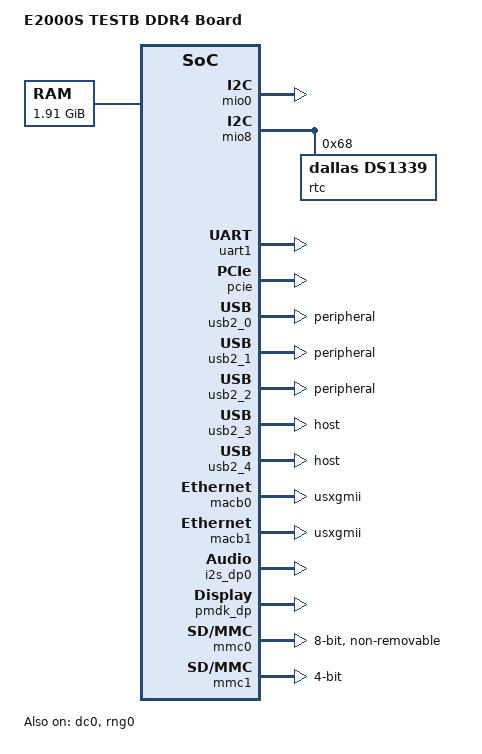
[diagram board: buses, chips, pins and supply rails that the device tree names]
// SPDX-License-Identifier: GPL-2.0
/*
 * DTS file for Phytium E2000S test board
 *
 * Copyright (C) 2022, Phytium Technology Co., Ltd.
 *
 * This program is free software; you can redistribute it and/or
 * modify it under the terms of the GNU General Public License as
 * published by the Free Software Foundation; either version 2 of
 * the License, or (at your option) any later version.
 */

/dts-v1/;
/memreserve/ 0x80000000 0x10000;

#include "e2000s.dtsi"

/{
	model = "E2000S TESTB DDR4 Board";
	compatible = "phytium,e2000s";

	chosen {
		stdout-path = "serial1:115200n8";
	};

	memory@00{
		device_type = "memory";
		reg = <0x0 0x80000000 0x0 0x7a000000>;
	};
};

&soc {
	mio0: i2c@28014000 {
		compatible = "phytium,i2c";
		reg = <0x0 0x28014000 0x0 0x1000>;
		interrupts = <GIC_SPI 92 IRQ_TYPE_LEVEL_HIGH>;
		clocks = <&sysclk_50mhz>;
		#address-cells = <1>;
		#size-cells = <0>;
		status = "okay";
	};

	mio8: i2c@28024000 {
		compatible = "phytium,i2c";
		reg = <0x0 0x28024000 0x0 0x1000>;
		interrupts = <GIC_SPI 100 IRQ_TYPE_LEVEL_HIGH>;
		clocks = <&sysclk_50mhz>;
		#address-cells = <1>;
		#size-cells = <0>;
		status = "okay";

		rtc@68 {
			compatible = "dallas,ds1339";
			reg = <0x68>;
		};
	};
};

&uart1 {
	status = "okay";
};

&pcie {
	status = "okay";
};

&usb2_0 {
	dr_mode = "peripheral";
	status = "okay";
};

&usb2_1 {
	dr_mode = "peripheral";
	status = "okay";
};

&usb2_2 {
	dr_mode = "peripheral";
	status = "okay";
};

&usb2_3 {
	dr_mode = "host";
	status = "okay";
};

&usb2_4 {
	dr_mode = "host";
	status = "okay";
};

&macb0 {
	phy-mode = "usxgmii";
	status = "okay";
};

&macb1 {
	phy-mode = "usxgmii";
	status = "okay";
};

&dc0 {
	pipe_mask = /bits/ 8 <0x1>;
	edp_mask = /bits/ 8 <0x0>;
	status = "okay";
};

&i2s_dp0 {
	dai-name = "phytium-i2s-dp0";
	status = "okay";
};

&pmdk_dp{
	num-dp = <1>;
	status = "okay";
};

&mmc0 {
	bus-width = <0x00000008>;
	max-frequency = <50000000>;
	cap-mmc-hw-reset;
	cap-mmc-highspeed;
	no-sdio;
	no-sd;
	non-removable;
	status = "okay";
};

&mmc1 {
	bus-width = <0x00000004>;
	max-frequency = <50000000>;
	cap-sdio-irq;
	cap-sd-highspeed;
	sd-uhs-sdr25;
	no-mmc;
	status = "okay";
};

&rng0 {
	status = "okay";
};
